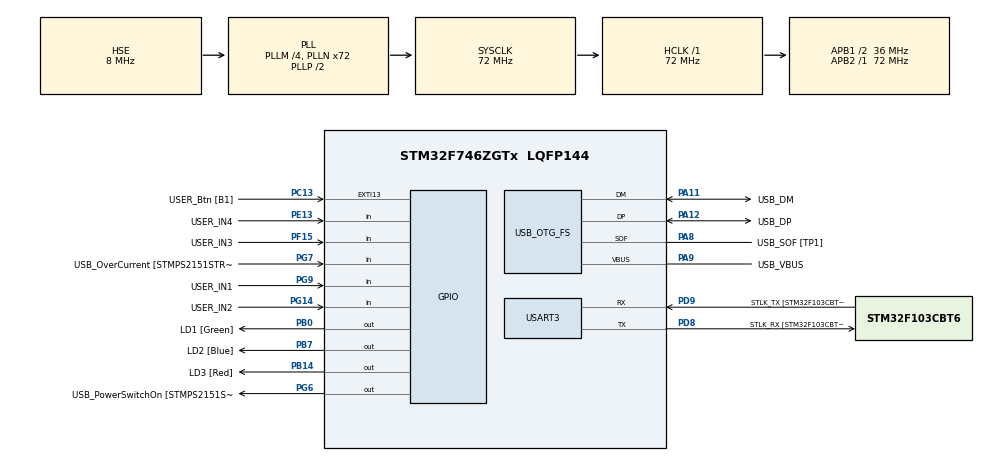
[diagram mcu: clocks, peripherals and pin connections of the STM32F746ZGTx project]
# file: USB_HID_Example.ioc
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Mcu.Family=STM32F7
Mcu.Name=STM32F746ZGTx
Mcu.Package=LQFP144
NVIC.OTG_FS_IRQn=true\:0\:0\:false\:false\:true\:false\:true\:true
NVIC.PriorityGroup=NVIC_PRIORITYGROUP_4
PA1.GPIO_Label=RMII_REF_CLK [LAN8742A-CZ-TR_REFCLK0]
PA1.Signal=ETH_REF_CLK
PA10.GPIO_Label=USB_ID
PA10.Signal=USB_OTG_FS_ID
PA11.GPIO_Label=USB_DM
PA11.Mode=Device_Only
PA11.Signal=USB_OTG_FS_DM
PA12.GPIO_Label=USB_DP
PA12.Mode=Device_Only
PA12.Signal=USB_OTG_FS_DP
PA13.GPIO_Label=TMS
PA13.Mode=Serial_Wire
PA13.Signal=SYS_JTMS-SWDIO
PA14.GPIO_Label=TCK
PA14.Mode=Serial_Wire
PA14.Signal=SYS_JTCK-SWCLK
PA2.GPIO_Label=RMII_MDIO [LAN8742A-CZ-TR_MDIO]
PA2.Signal=ETH_MDIO
PA7.GPIO_Label=RMII_CRS_DV [LAN8742A-CZ-TR_CRS_DV]
PA7.Signal=ETH_CRS_DV
PA8.GPIO_Label=USB_SOF [TP1]
PA8.Mode=Activate_SOF_FS
PA8.Signal=USB_OTG_FS_SOF
PA9.GPIO_Label=USB_VBUS
PA9.Mode=Activate_VBUS
PA9.Signal=USB_OTG_FS_VBUS
PB0.GPIO_Label=LD1 [Green]
PB0.Signal=GPIO_Output
PB13.GPIO_Label=RMII_TXD1 [LAN8742A-CZ-TR_TXD1]
PB13.Signal=ETH_TXD1
PB14.GPIO_Label=LD3 [Red]
PB14.Signal=GPIO_Output
PB3.GPIO_Label=SW0
PB3.Signal=SYS_JTDO-SWO
PB7.GPIO_Label=LD2 [Blue]
PB7.Signal=GPIO_Output
PC1.GPIO_Label=RMII_MDC [LAN8742A-CZ-TR_MDC]
PC1.Signal=ETH_MDC
PC13.GPIO_Label=USER_Btn [B1]
PC13.Signal=GPXTI13
PC14/OSC32_IN.Mode=LSE-External-Oscillator
PC14/OSC32_IN.Signal=RCC_OSC32_IN
PC15/OSC32_OUT.Mode=LSE-External-Oscillator
PC15/OSC32_OUT.Signal=RCC_OSC32_OUT
PC4.GPIO_Label=RMII_RXD0 [LAN8742A-CZ-TR_RXD0]
PC4.Signal=ETH_RXD0
PC5.GPIO_Label=RMII_RXD1 [LAN8742A-CZ-TR_RXD1]
PC5.Signal=ETH_RXD1
PD8.GPIO_Label=STLK_RX [STM32F103CBT6_PA3]
PD8.GPIO_PuPd=GPIO_PULLUP
PD8.Mode=Asynchronous
PD8.Signal=USART3_TX
PD9.GPIO_Label=STLK_TX [STM32F103CBT6_PA2]
PD9.GPIO_PuPd=GPIO_PULLUP
PD9.Mode=Asynchronous
PD9.Signal=USART3_RX
PE13.GPIO_Label=USER_IN4
PE13.Signal=GPIO_Input
PF15.GPIO_Label=USER_IN3
PF15.Signal=GPIO_Input
PG11.GPIO_Label=RMII_TX_EN [LAN8742A-CZ-TR_TXEN]
PG11.Signal=ETH_TX_EN
PG13.GPIO_Label=RMII_TXD0 [LAN8742A-CZ-TR_TXD0]
PG13.Signal=ETH_TXD0
PG14.GPIO_Label=USER_IN2
PG14.Signal=GPIO_Input
PG6.GPIO_Label=USB_PowerSwitchOn [STMPS2151STR_EN]
PG6.Signal=GPIO_Output
PG7.GPIO_Label=USB_OverCurrent [STMPS2151STR_FAULT]
PG7.Signal=GPIO_Input
PG9.GPIO_Label=USER_IN1
PG9.Signal=GPIO_Input
PH0/OSC_IN.GPIO_Label=MCO [STM32F103CBT6_PA8]
PH0/OSC_IN.Mode=HSE-External-Clock-Source
PH0/OSC_IN.Signal=RCC_OSC_IN
PH1/OSC_OUT.Mode=HSE-External-Clock-Source
PH1/OSC_OUT.Signal=RCC_OSC_OUT
ProjectManager.HeapSize=0x200
ProjectManager.StackSize=0x400
ProjectManager.TargetToolchain=STM32CubeIDE
RCC.48MHZClocksFreq_Value=24000000
RCC.AHBFreq_Value=72000000
RCC.APB1CLKDivider=RCC_HCLK_DIV2
RCC.APB1Freq_Value=36000000
RCC.APB1TimFreq_Value=72000000
RCC.APB2Freq_Value=72000000
RCC.APB2TimFreq_Value=72000000
RCC.CortexFreq_Value=72000000
RCC.HCLKFreq_Value=72000000
RCC.HSE_VALUE=8000000
RCC.HSI_VALUE=16000000
RCC.PLLM=4
RCC.PLLMUL=RCC_PLL_MUL9
RCC.PLLN=72
RCC.PLLQ=3
RCC.PRESCALERUSB=RCC_USBCLKSOURCE_PLL_DIV1_5
RCC.SYSCLKFreq_VALUE=72000000
RCC.SYSCLKSource=RCC_SYSCLKSOURCE_PLLCLK
RCC.SYSCLKSourceVirtual=RCC_SYSCLKSOURCE_PLLCLK
RCC.USBFreq_Value=48000000
RCC.VCOOutputFreq_Value=144000000
USART3.VirtualMode-Asynchronous=VM_ASYNC
USB_DEVICE.CLASS_NAME_FS=HID
USB_DEVICE.PID_HID_FS=22316
USB_DEVICE.VirtualMode-HID_FS=Hid
USB_DEVICE.VirtualModeFS=Hid_FS
USB_OTG_FS.VirtualMode=Device_Only
VP_USB_DEVICE_VS_USB_DEVICE_HID_FS.Mode=HID_FS
board=NUCLEO-F746ZG

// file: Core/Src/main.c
/* USER CODE BEGIN Header */
/**
  ******************************************************************************
  * @file           : main.c
  * @brief          : Main program body
  * @note 			: www.instructables.com/STM32-As-HID-USB-Keyboard-STM32-Tutorials/
  ******************************************************************************
  * @attention
  *
  * Copyright (c) 2024 STMicroelectronics.
  * All rights reserved.
  *
  * This software is licensed under terms that can be found in the LICENSE file
  * in the root directory of this software component.
  * If no LICENSE file comes with this software, it is provided AS-IS.
  *
  ******************************************************************************
  */
/* USER CODE END Header */
#include "main.h"
#include "usb_device.h"

/* USER CODE BEGIN Includes */
#include "usb_hid_util.h"
#include "btn_config.h"
/* USER CODE END Includes */

/* USER CODE BEGIN PTD */
typedef struct {
  BTN_DIO_Handle_TypeDef* button;
  uint8_t code;
  // uint8_t modifier;
} USB_HID_BTN_Handle_TypeDef;
/* USER CODE END PTD */

UART_HandleTypeDef huart3;

void SystemClock_Config(void);
static void MX_GPIO_Init(void);
static void MX_USART3_UART_Init(void);

int main(void)
{

  /* MCU Configuration--------------------------------------------------------*/

  /* Reset of all peripherals, Initializes the Flash interface and the Systick. */
  HAL_Init();

  /* Configure the system clock */
  SystemClock_Config();

  /* Initialize all configured peripherals */
  MX_GPIO_Init();
  MX_USART3_UART_Init();
  MX_USB_DEVICE_Init();
  /* USER CODE BEGIN 2 */
  uint8_t keys_codes[6] = {0, 0, 0, 0, 0, 0};

  USB_HID_BTN_Handle_TypeDef pad_keys[4] =
  {
      { .button = &pad_key_up,    .code = KEY_W },
      { .button = &pad_key_down,  .code = KEY_S },
      { .button = &pad_key_left,  .code = KEY_A },
      { .button = &pad_key_right, .code = KEY_D },
  };
  /* USER CODE END 2 */

  /* Infinite loop */
  /* USER CODE BEGIN WHILE */
  while (1)
  {
    _Bool send = 0;

    for(int i = 0; i < (sizeof(pad_keys)/sizeof(pad_keys[0])); i++)
    {
      BTN_DIO_Edge_TypeDef edge = BTN_DIO_EdgeDetected(pad_keys[i].button);
      keys_codes[i] = (edge ==  BTN_PRESSED_EDGE) ? pad_keys[i].code : KEY_NONE;
      send |= (edge ==  BTN_PRESSED_EDGE) || (edge ==  BTN_RELEASED_EDGE);
    }

    if(send)
      USB_HID_SendKeys(KEY_NONE, keys_codes);

	  HAL_Delay(20);
    /* USER CODE END WHILE */

  }
}

void SystemClock_Config(void)
{
  RCC_OscInitTypeDef RCC_OscInitStruct = {0};
  RCC_ClkInitTypeDef RCC_ClkInitStruct = {0};

  /** Configure LSE Drive Capability
  */
  HAL_PWR_EnableBkUpAccess();

  /** Configure the main internal regulator output voltage
  */
  __HAL_RCC_PWR_CLK_ENABLE();
  __HAL_PWR_VOLTAGESCALING_CONFIG(PWR_REGULATOR_VOLTAGE_SCALE3);

  /** Initializes the RCC Oscillators according to the specified parameters
  * in the RCC_OscInitTypeDef structure.
  */
  RCC_OscInitStruct.OscillatorType = RCC_OSCILLATORTYPE_HSE;
  RCC_OscInitStruct.HSEState = RCC_HSE_BYPASS;
  RCC_OscInitStruct.PLL.PLLState = RCC_PLL_ON;
  RCC_OscInitStruct.PLL.PLLSource = RCC_PLLSOURCE_HSE;
  RCC_OscInitStruct.PLL.PLLM = 4;
  RCC_OscInitStruct.PLL.PLLN = 72;
  RCC_OscInitStruct.PLL.PLLP = RCC_PLLP_DIV2;
  RCC_OscInitStruct.PLL.PLLQ = 3;
  if (HAL_RCC_OscConfig(&RCC_OscInitStruct) != HAL_OK)
  {
    Error_Handler();
  }

  /** Initializes the CPU, AHB and APB buses clocks
  */
  RCC_ClkInitStruct.ClockType = RCC_CLOCKTYPE_HCLK|RCC_CLOCKTYPE_SYSCLK
                              |RCC_CLOCKTYPE_PCLK1|RCC_CLOCKTYPE_PCLK2;
  RCC_ClkInitStruct.SYSCLKSource = RCC_SYSCLKSOURCE_PLLCLK;
  RCC_ClkInitStruct.AHBCLKDivider = RCC_SYSCLK_DIV1;
  RCC_ClkInitStruct.APB1CLKDivider = RCC_HCLK_DIV2;
  RCC_ClkInitStruct.APB2CLKDivider = RCC_HCLK_DIV1;

  if (HAL_RCC_ClockConfig(&RCC_ClkInitStruct, FLASH_LATENCY_2) != HAL_OK)
  {
    Error_Handler();
  }
}

static void MX_USART3_UART_Init(void)
{

  huart3.Instance = USART3;
  huart3.Init.BaudRate = 115200;
  huart3.Init.WordLength = UART_WORDLENGTH_8B;
  huart3.Init.StopBits = UART_STOPBITS_1;
  huart3.Init.Parity = UART_PARITY_NONE;
  huart3.Init.Mode = UART_MODE_TX_RX;
  huart3.Init.HwFlowCtl = UART_HWCONTROL_NONE;
  huart3.Init.OverSampling = UART_OVERSAMPLING_16;
  huart3.Init.OneBitSampling = UART_ONE_BIT_SAMPLE_DISABLE;
  huart3.AdvancedInit.AdvFeatureInit = UART_ADVFEATURE_NO_INIT;
  if (HAL_UART_Init(&huart3) != HAL_OK)
  {
    Error_Handler();
  }

}

static void MX_GPIO_Init(void)
{
  GPIO_InitTypeDef GPIO_InitStruct = {0};

  /* GPIO Ports Clock Enable */
  __HAL_RCC_GPIOC_CLK_ENABLE();
  __HAL_RCC_GPIOH_CLK_ENABLE();
  __HAL_RCC_GPIOA_CLK_ENABLE();
  __HAL_RCC_GPIOB_CLK_ENABLE();
  __HAL_RCC_GPIOF_CLK_ENABLE();
  __HAL_RCC_GPIOE_CLK_ENABLE();
  __HAL_RCC_GPIOD_CLK_ENABLE();
  __HAL_RCC_GPIOG_CLK_ENABLE();

  /*Configure GPIO pin Output Level */
  HAL_GPIO_WritePin(GPIOB, LD1_Pin|LD3_Pin|LD2_Pin, GPIO_PIN_RESET);

  /*Configure GPIO pin Output Level */
  HAL_GPIO_WritePin(USB_PowerSwitchOn_GPIO_Port, USB_PowerSwitchOn_Pin, GPIO_PIN_RESET);

  /*Configure GPIO pin : USER_Btn_Pin */
  GPIO_InitStruct.Pin = USER_Btn_Pin;
  GPIO_InitStruct.Mode = GPIO_MODE_IT_RISING;
  GPIO_InitStruct.Pull = GPIO_NOPULL;
  HAL_GPIO_Init(USER_Btn_GPIO_Port, &GPIO_InitStruct);

  /*Configure GPIO pins : RMII_MDC_Pin RMII_RXD0_Pin RMII_RXD1_Pin */
  GPIO_InitStruct.Pin = RMII_MDC_Pin|RMII_RXD0_Pin|RMII_RXD1_Pin;
  GPIO_InitStruct.Mode = GPIO_MODE_AF_PP;
  GPIO_InitStruct.Pull = GPIO_NOPULL;
  GPIO_InitStruct.Speed = GPIO_SPEED_FREQ_VERY_HIGH;
  GPIO_InitStruct.Alternate = GPIO_AF11_ETH;
  HAL_GPIO_Init(GPIOC, &GPIO_InitStruct);

  /*Configure GPIO pins : RMII_REF_CLK_Pin RMII_MDIO_Pin RMII_CRS_DV_Pin */
  GPIO_InitStruct.Pin = RMII_REF_CLK_Pin|RMII_MDIO_Pin|RMII_CRS_DV_Pin;
  GPIO_InitStruct.Mode = GPIO_MODE_AF_PP;
  GPIO_InitStruct.Pull = GPIO_NOPULL;
  GPIO_InitStruct.Speed = GPIO_SPEED_FREQ_VERY_HIGH;
  GPIO_InitStruct.Alternate = GPIO_AF11_ETH;
  HAL_GPIO_Init(GPIOA, &GPIO_InitStruct);

  /*Configure GPIO pins : LD1_Pin LD3_Pin LD2_Pin */
  GPIO_InitStruct.Pin = LD1_Pin|LD3_Pin|LD2_Pin;
  GPIO_InitStruct.Mode = GPIO_MODE_OUTPUT_PP;
  GPIO_InitStruct.Pull = GPIO_NOPULL;
  GPIO_InitStruct.Speed = GPIO_SPEED_FREQ_LOW;
  HAL_GPIO_Init(GPIOB, &GPIO_InitStruct);

  /*Configure GPIO pin : USER_IN3_Pin */
  GPIO_InitStruct.Pin = USER_IN3_Pin;
  GPIO_InitStruct.Mode = GPIO_MODE_INPUT;
  GPIO_InitStruct.Pull = GPIO_NOPULL;
  HAL_GPIO_Init(USER_IN3_GPIO_Port, &GPIO_InitStruct);

  /*Configure GPIO pin : USER_IN4_Pin */
  GPIO_InitStruct.Pin = USER_IN4_Pin;
  GPIO_InitStruct.Mode = GPIO_MODE_INPUT;
  GPIO_InitStruct.Pull = GPIO_NOPULL;
  HAL_GPIO_Init(USER_IN4_GPIO_Port, &GPIO_InitStruct);

  /*Configure GPIO pin : RMII_TXD1_Pin */
  GPIO_InitStruct.Pin = RMII_TXD1_Pin;
  GPIO_InitStruct.Mode = GPIO_MODE_AF_PP;
  GPIO_InitStruct.Pull = GPIO_NOPULL;
  GPIO_InitStruct.Speed = GPIO_SPEED_FREQ_VERY_HIGH;
  GPIO_InitStruct.Alternate = GPIO_AF11_ETH;
  HAL_GPIO_Init(RMII_TXD1_GPIO_Port, &GPIO_InitStruct);

  /*Configure GPIO pin : USB_PowerSwitchOn_Pin */
  GPIO_InitStruct.Pin = USB_PowerSwitchOn_Pin;
  GPIO_InitStruct.Mode = GPIO_MODE_OUTPUT_PP;
  GPIO_InitStruct.Pull = GPIO_NOPULL;
  GPIO_InitStruct.Speed = GPIO_SPEED_FREQ_LOW;
  HAL_GPIO_Init(USB_PowerSwitchOn_GPIO_Port, &GPIO_InitStruct);

  /*Configure GPIO pins : USB_OverCurrent_Pin USER_IN1_Pin USER_IN2_Pin */
  GPIO_InitStruct.Pin = USB_OverCurrent_Pin|USER_IN1_Pin|USER_IN2_Pin;
  GPIO_InitStruct.Mode = GPIO_MODE_INPUT;
  GPIO_InitStruct.Pull = GPIO_NOPULL;
  HAL_GPIO_Init(GPIOG, &GPIO_InitStruct);

  /*Configure GPIO pins : RMII_TX_EN_Pin RMII_TXD0_Pin */
  GPIO_InitStruct.Pin = RMII_TX_EN_Pin|RMII_TXD0_Pin;
  GPIO_InitStruct.Mode = GPIO_MODE_AF_PP;
  GPIO_InitStruct.Pull = GPIO_NOPULL;
  GPIO_InitStruct.Speed = GPIO_SPEED_FREQ_VERY_HIGH;
  GPIO_InitStruct.Alternate = GPIO_AF11_ETH;
  HAL_GPIO_Init(GPIOG, &GPIO_InitStruct);

}

void Error_Handler(void)
{
  __disable_irq();
  while (1)
  {
  }
}
